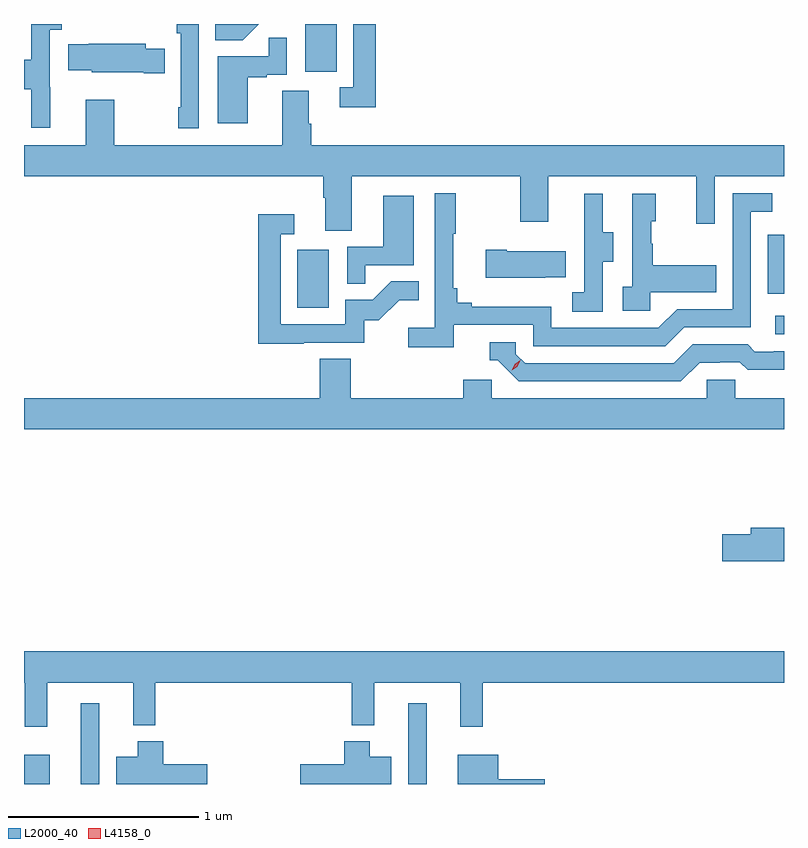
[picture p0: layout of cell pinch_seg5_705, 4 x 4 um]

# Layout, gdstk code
import gdstk
lib = gdstk.Library(unit=1e-6, precision=1e-09)
def R(c, l, rs):  # rectangles x0, y0, x1, y1
    for r in rs: c.add(gdstk.rectangle(r[:2], r[2:], *l))
def P(c, l, *ps):  # polygons
    for p in ps: c.add(gdstk.Polygon(p, *l))
L2000_40 = (2000, 40)
L4158_0 = (4158, 0)

pinch_seg5_705 = lib.new_cell('pinch_seg5_705')
R(pinch_seg5_705, L2000_40, [(1116.705,837.578,1116.841,837.733), (1117.004,837.578,1117.101,838.003), (1118.727,837.578,1118.824,838.003), (1120.659,839.946,1120.705,840.042), (1118.144,840.084,1118.308,840.391), (1120.62,840.159,1120.705,840.468), (1118.186,841.326,1118.35,841.578)])
P(pinch_seg5_705, L2000_40, [(1117.626,841.578),(1117.51,841.578),(1117.51,841.529),(1117.53,841.529),(1117.53,841.141),(1117.518,841.141),(1117.518,841.029),(1117.626,841.029)],
  [(1117.941,841.578),(1117.711,841.578),(1117.711,841.492),(1117.855,841.492)],
  [(1116.842,841.245),(1116.84,841.245),(1116.84,841.549),(1116.904,841.549),(1116.904,841.578),(1116.744,841.578),(1116.744,841.389),(1116.705,841.389),(1116.705,841.234),(1116.743,841.234),(1116.743,841.032),(1116.842,841.032)],
  [(1118.555,841.578),(1118.439,841.578),(1118.439,841.245),(1118.367,841.245),(1118.367,841.14),(1118.555,841.14)],
  [(1117.882,841.299),(1117.982,841.299),(1117.982,841.311),(1118.088,841.311),(1118.088,841.505),(1117.993,841.505),(1117.993,841.407),(1117.724,841.407),(1117.724,841.056),(1117.882,841.056)],
  [(1117.445,841.447),(1117.347,841.447),(1117.347,841.474),(1117.045,841.474),(1117.045,841.471),(1116.937,841.471),(1116.937,841.334),(1117.062,841.334),(1117.062,841.325),(1117.334,841.325),(1117.334,841.318),(1117.445,841.318)],
  [(1118.431,840.776),(1119.316,840.776),(1119.316,840.537),(1119.463,840.537),(1119.463,840.776),(1120.244,840.776),(1120.244,840.528),(1120.341,840.528),(1120.341,840.776),(1120.705,840.776),(1120.705,840.94),(1118.216,840.94),(1118.216,841.052),(1118.203,841.052),(1118.203,841.226),(1118.063,841.226),(1118.063,840.94),(1117.179,840.94),(1117.179,841.18),(1117.031,841.18),(1117.031,840.94),(1116.705,840.94),(1116.705,840.776),(1118.279,840.776),(1118.279,840.664),(1118.291,840.664),(1118.291,840.49),(1118.431,840.49)],
  [(1118.966,839.994),(1119.384,839.994),(1119.384,839.883),(1120.081,839.883),(1120.18,839.982),(1120.53,839.982),(1120.53,840.591),(1120.643,840.591),(1120.643,840.687),(1120.434,840.687),(1120.434,840.078),(1120.143,840.078),(1120.044,839.979),(1119.48,839.979),(1119.48,840.091),(1119.061,840.091),(1119.061,840.11),(1118.984,840.11),(1118.984,840.187),(1118.965,840.187),(1118.965,840.475),(1118.977,840.475),(1118.977,840.688),(1118.868,840.688),(1118.868,839.98),(1118.727,839.98),(1118.727,839.878),(1118.966,839.878)],
  [(1119.75,840.328),(1119.805,840.328),(1119.805,840.483),(1119.751,840.483),(1119.751,840.685),(1119.653,840.685),(1119.653,840.471),(1119.654,840.471),(1119.654,840.167),(1119.591,840.167),(1119.591,840.064),(1119.75,840.064)],
  [(1120.002,840.167),(1120.349,840.167),(1120.349,840.307),(1120.015,840.307),(1120.015,840.422),(1120.005,840.422),(1120.005,840.54),(1120.03,840.54),(1120.03,840.685),(1119.906,840.685),(1119.906,840.194),(1119.855,840.194),(1119.855,840.069),(1120.002,840.069)],
  [(1118.501,840.309),(1118.755,840.309),(1118.755,840.673),(1118.597,840.673),(1118.597,840.405),(1118.406,840.405),(1118.406,840.211),(1118.501,840.211)],
  [(1118.177,839.901),(1118.496,839.901),(1118.496,840.018),(1118.572,840.018),(1118.679,840.125),(1118.783,840.125),(1118.783,840.224),(1118.639,840.224),(1118.541,840.126),(1118.397,840.126),(1118.397,839.997),(1118.055,839.997),(1118.055,840.471),(1118.128,840.471),(1118.128,840.577),(1117.939,840.577),(1117.939,839.896),(1118.177,839.896)],
  [(1119.449,840.245),(1119.557,840.245),(1119.557,840.382),(1119.247,840.382),(1119.247,840.39),(1119.135,840.39),(1119.135,840.242),(1119.449,840.242)],
  [(1120.261,839.796),(1120.368,839.796),(1120.368,839.799),(1120.471,839.799),(1120.513,839.757),(1120.705,839.757),(1120.705,839.856),(1120.651,839.856),(1120.651,839.853),(1120.552,839.853),(1120.513,839.892),(1120.224,839.892),(1120.125,839.793),(1119.342,839.793),(1119.294,839.841),(1119.294,839.904),(1119.155,839.904),(1119.155,839.808),(1119.198,839.808),(1119.309,839.697),(1120.162,839.697)],
  [(1120.705,839.608),(1120.449,839.608),(1120.449,839.706),(1120.299,839.706),(1120.299,839.608),(1119.168,839.608),(1119.168,839.706),(1119.017,839.706),(1119.017,839.608),(1118.426,839.608),(1118.426,839.816),(1118.261,839.816),(1118.261,839.608),(1116.705,839.608),(1116.705,839.444),(1120.705,839.444)],
  [(1120.705,838.928),(1120.529,838.928),(1120.529,838.892),(1120.38,838.892),(1120.38,838.75),(1120.705,838.75)],
  [(1116.827,838.112),(1117.28,838.112),(1117.28,837.887),(1117.397,837.887),(1117.397,838.112),(1118.431,838.112),(1118.431,837.887),(1118.549,837.887),(1118.549,838.112),(1119.002,838.112),(1119.002,837.879),(1119.119,837.879),(1119.119,838.112),(1120.705,838.112),(1120.705,838.276),(1116.705,838.276),(1116.705,838.112),(1116.709,838.112),(1116.709,837.879),(1116.827,837.879)],
  [(1117.669,837.681),(1117.439,837.681),(1117.439,837.802),(1117.304,837.802),(1117.304,837.721),(1117.19,837.721),(1117.19,837.578),(1117.669,837.578)],
  [(1118.638,837.721),(1118.524,837.721),(1118.524,837.802),(1118.39,837.802),(1118.39,837.681),(1118.16,837.681),(1118.16,837.578),(1118.638,837.578)],
  [(1119.445,837.602),(1119.202,837.602),(1119.202,837.733),(1118.987,837.733),(1118.987,837.578),(1119.445,837.578)])
P(pinch_seg5_705, L4158_0, [(1119.271,839.755),(1119.271,839.755),(1119.287,839.788),(1119.317,839.807),(1119.318,839.807),(1119.318,839.807),(1119.302,839.774),(1119.271,839.755)])

lib.write_gds('pinch_seg5_705.gds')
